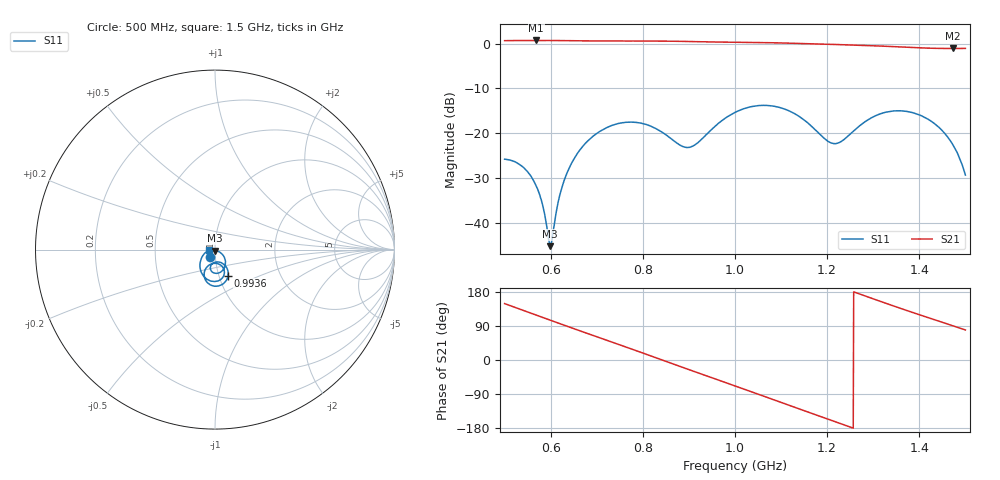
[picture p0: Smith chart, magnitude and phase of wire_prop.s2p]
# HZ S RI R 50
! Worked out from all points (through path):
!   1024 points, 500 MHz to 1.5 GHz, reference 50 ohm
!   highest |S21| = 0.70 dB at 568.4 MHz (marker M1); lowest = -1.1 dB at 1.473 GHz (marker M2)
!   group delay of S21, straight-line fit = 1.2 ns
!   lowest |S11| = -45.2 dB at 598.7 MHz (marker M3), VSWR 1.01, Z = 49.9 - j0.537 ohm
!   |S11| at or under -10 dB: start of sweep to end of sweep
!   S12 and S22 are empty: the file has one direction only
!   S11 on the Smith chart (normalised r, x): 500 MHz: 0.94, -0.08; 993.6 MHz: 1.10, -0.33; 1.5 GHz: 0.93, -0.01
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5e8  -0.0303 -0.0413  -0.9219 0.5587  0 0  0 0
5.391007e8  -0.0343 -0.0245  -0.7177 0.8101  0 0  0 0
5.684262e8  -0.0234 -0.0111  -0.5188 0.9514  0 0  0 0
5.821114e8  -0.0145 -0.00695  -0.4153 1.001  0 0  0 0
5.987292e8  -0.000975 -0.00538  -0.2847 1.044  0 0  0 0
6.026393e8  0.00229 -0.00584  -0.2535 1.052  0 0  0 0
6.290323e8  0.026 -0.014  -0.0368 1.079  0 0  0 0
6.671554e8  0.0526 -0.0445  0.2708 1.039  0 0  0 0
7.473118e8  0.0338 -0.1237  0.8044 0.7017  0 0  0 0
7.913001e8  -0.0048 -0.1305  0.9899 0.4018  0 0  0 0
8.343108e8  -0.026 -0.1051  1.064 0.0617  0 0  0 0
9.00782e8  0.0117 -0.0684  0.9507 -0.4572  0 0  0 0
9.936461e8  0.0724 -0.1468  0.4268 -0.9436  0 0  0 0
1.000489e9  0.0704 -0.1557  0.378 -0.9633  0 0  0 0
1.079668e9  -0.0155 -0.201  -0.23 -0.9957  0 0  0 0
1.167644e9  -0.0514 -0.1057  -0.776 -0.6205  0 0  0 0
1.22043e9  0.0046 -0.0766  -0.9393 -0.2655  0 0  0 0
1.275171e9  0.0511 -0.1155  -0.9481 0.1304  0 0  0 0
1.333822e9  0.0209 -0.1728  -0.7792 0.5064  0 0  0 0
1.411046e9  -0.074 -0.1313  -0.3781 0.8076  0 0  0 0
1.47263e9  -0.0669 -0.0325  -0.00589 0.8815  0 0  0 0
1.5e9  -0.0339 -0.00276  0.1649 0.8677  0 0  0 0
